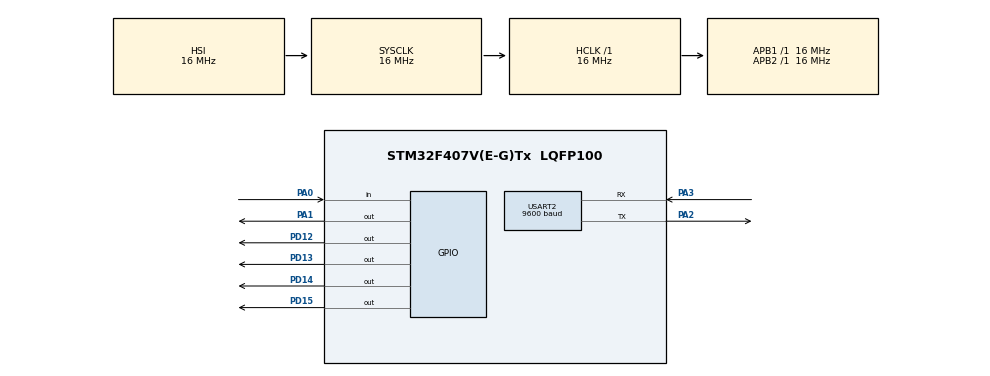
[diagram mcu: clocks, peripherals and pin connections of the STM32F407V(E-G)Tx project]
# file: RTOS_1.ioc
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Mcu.Family=STM32F4
RCC.PLLSourceVirtual=RCC_PLLSOURCE_HSE
PH0-OSC_IN.Signal=RCC_OSC_IN
RCC.CortexFreq_Value=16000000
FREERTOS.Tasks01=NormalTask,0,128,Startnormaltask,Default,NULL,Dynamic,NULL,NULL;HighTask,1,128,Starthightask,Default,NULL,Dynamic,NULL,NULL;LowTask,-1,128,Startlowtask,Default,NULL,Dynamic,NULL,NULL
FREERTOS.BinarySemaphores01=BinSem,Dynamic,NULL
NVIC.USART2_IRQn=true\:5\:0\:false\:false\:true\:true\:true\:true
USART2.BaudRate=9600
ProjectManager.StackSize=0x400
PA0-WKUP.Signal=GPIO_Input
PD13.Signal=GPIO_Output
PA3.Mode=Asynchronous
ProjectManager.TargetToolchain=STM32CubeIDE
RCC.HCLKFreq_Value=16000000
RCC.APB2TimFreq_Value=16000000
RCC.LSE_VALUE=32768
PA1.Signal=GPIO_Output
RCC.AHBFreq_Value=16000000
PH0-OSC_IN.Mode=HSE-External-Oscillator
RCC.HSE_VALUE=8000000
board=custom
RCC.VCOOutputFreq_Value=360000000
RCC.APB2Freq_Value=16000000
VP_SYS_VS_tim1.Mode=TIM1
PH1-OSC_OUT.Signal=RCC_OSC_OUT
VP_FREERTOS_VS_CMSIS_V1.Mode=CMSIS_V1
Mcu.Name=STM32F407V(E-G)Tx
PA2.Signal=USART2_TX
PD14.Signal=GPIO_Output
PH1-OSC_OUT.Mode=HSE-External-Oscillator
RCC.48MHZClocksFreq_Value=90000000
RCC.SYSCLKFreq_VALUE=16000000
Mcu.Package=LQFP100
NVIC.TimeBase=TIM1_UP_TIM10_IRQn
USART2.VirtualMode=VM_ASYNC
PD12.Signal=GPIO_Output
NVIC.TimeBaseIP=TIM1
ProjectManager.HeapSize=0x200
NVIC.TIM1_UP_TIM10_IRQn=true\:0\:0\:false\:false\:true\:false\:false\:true
RCC.HSI_VALUE=16000000
RCC.PLLP=RCC_PLLP_DIV4
NVIC.PriorityGroup=NVIC_PRIORITYGROUP_4
RCC.PLLM=4
RCC.PLLN=180
RCC.APB1TimFreq_Value=16000000
PA2.Mode=Asynchronous
PA0-WKUP.GPIO_PuPd=GPIO_PULLUP
RCC.APB1Freq_Value=16000000
PD15.Signal=GPIO_Output
PA3.Signal=USART2_RX

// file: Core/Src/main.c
/* USER CODE BEGIN Header */
/**
  ******************************************************************************
  * @file           : main.c
  * @brief          : Main program body
  ******************************************************************************
  * @attention
  *
  * <h2><center>&copy; Copyright (c) 2021 STMicroelectronics.
  * All rights reserved.</center></h2>
  *
  * This software component is licensed by ST under BSD 3-Clause license,
  * the "License"; You may not use this file except in compliance with the
  * License. You may obtain a copy of the License at:
  *                        opensource.org/licenses/BSD-3-Clause
  *
  ******************************************************************************
  */
/* USER CODE END Header */
#include "main.h"
#include "cmsis_os.h"
#include "usart.h"
#include "gpio.h"

void SystemClock_Config(void);
void MX_FREERTOS_Init(void);

/* USER CODE BEGIN 0 */
//void send_def(void){
//	uint8_t data[] = "Dados do Paciente \nNome: \nIdade: \nID: \n";
//	HAL_UART_Transmit(&huart2, data, sizeof(data), 500);
//}

/* USER CODE END 0 */

int main(void)
{

  /* MCU Configuration--------------------------------------------------------*/

  /* Reset of all peripherals, Initializes the Flash interface and the Systick. */
  HAL_Init();

  /* Configure the system clock */
  SystemClock_Config();

  /* Initialize all configured peripherals */
  MX_GPIO_Init();
  MX_USART2_UART_Init();

  /* Call init function for freertos objects (in freertos.c) */
  MX_FREERTOS_Init();
  /* Start scheduler */
  osKernelStart();

  /* We should never get here as control is now taken by the scheduler */
  /* Infinite loop */
  while (1)
  {

  }
}

void SystemClock_Config(void)
{
  RCC_OscInitTypeDef RCC_OscInitStruct = {0};
  RCC_ClkInitTypeDef RCC_ClkInitStruct = {0};

  /** Configure the main internal regulator output voltage
  */
  __HAL_RCC_PWR_CLK_ENABLE();
  __HAL_PWR_VOLTAGESCALING_CONFIG(PWR_REGULATOR_VOLTAGE_SCALE1);
  /** Initializes the RCC Oscillators according to the specified parameters
  * in the RCC_OscInitTypeDef structure.
  */
  RCC_OscInitStruct.OscillatorType = RCC_OSCILLATORTYPE_HSI;
  RCC_OscInitStruct.HSIState = RCC_HSI_ON;
  RCC_OscInitStruct.HSICalibrationValue = RCC_HSICALIBRATION_DEFAULT;
  RCC_OscInitStruct.PLL.PLLState = RCC_PLL_NONE;
  if (HAL_RCC_OscConfig(&RCC_OscInitStruct) != HAL_OK)
  {
    Error_Handler();
  }
  /** Initializes the CPU, AHB and APB buses clocks
  */
  RCC_ClkInitStruct.ClockType = RCC_CLOCKTYPE_HCLK|RCC_CLOCKTYPE_SYSCLK
                              |RCC_CLOCKTYPE_PCLK1|RCC_CLOCKTYPE_PCLK2;
  RCC_ClkInitStruct.SYSCLKSource = RCC_SYSCLKSOURCE_HSI;
  RCC_ClkInitStruct.AHBCLKDivider = RCC_SYSCLK_DIV1;
  RCC_ClkInitStruct.APB1CLKDivider = RCC_HCLK_DIV1;
  RCC_ClkInitStruct.APB2CLKDivider = RCC_HCLK_DIV1;

  if (HAL_RCC_ClockConfig(&RCC_ClkInitStruct, FLASH_LATENCY_0) != HAL_OK)
  {
    Error_Handler();
  }
}

 /**
  * @brief  Period elapsed callback in non blocking mode
  * @note   This function is called  when TIM1 interrupt took place, inside
  * HAL_TIM_IRQHandler(). It makes a direct call to HAL_IncTick() to increment
  * a global variable "uwTick" used as application time base.
  * @param  htim : TIM handle
  * @retval None
  */
void HAL_TIM_PeriodElapsedCallback(TIM_HandleTypeDef *htim)
{
  if (htim->Instance == TIM1) {
    HAL_IncTick();
  }
}

void Error_Handler(void)
{
  __disable_irq();
  while (1)
  {
  }
}

/************************ (C) COPYRIGHT STMicroelectronics *****END OF FILE****/

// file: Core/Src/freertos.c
/* USER CODE BEGIN Header */
/**
  ******************************************************************************
  * File Name          : freertos.c
  * Description        : Simple Binary Semaphore example /
  * This code has three tasks, the two with the highest priority have an interaction
  * with the semaphore and the lower one don't. So, it should enter the HighPriority task
  * and wait for the button to be pressed to release the semaphore and start the
  * NormalPriority task. While the button isn't pressed, the LowerPriority task
  * will run normally.
  ******************************************************************************
  * @attention
  *
  * <h2><center>&copy; Copyright (c) 2021 STMicroelectronics.
  * All rights reserved.</center></h2>
  *
  * This software component is licensed by ST under Ultimate Liberty license
  * SLA0044, the "License"; You may not use this file except in compliance with
  * the License. You may obtain a copy of the License at:
  *                             www.st.com/SLA0044
  *
  ******************************************************************************
  */
/* USER CODE END Header */

#include "FreeRTOS.h"
#include "task.h"
#include "main.h"
#include "cmsis_os.h"

/* USER CODE BEGIN Includes */
#include "usart.h"
/* USER CODE END Includes */

osThreadId NormalTaskHandle;
osThreadId HighTaskHandle;
osThreadId LowTaskHandle;
osSemaphoreId BinSemHandle;

void Startnormaltask(void const * argument);
void Starthightask(void const * argument);
void Startlowtask(void const * argument);

void MX_FREERTOS_Init(void); /* (MISRA C 2004 rule 8.1) */

/* GetIdleTaskMemory prototype (linked to static allocation support) */
void vApplicationGetIdleTaskMemory( StaticTask_t **ppxIdleTaskTCBBuffer, StackType_t **ppxIdleTaskStackBuffer, uint32_t *pulIdleTaskStackSize );

/* USER CODE BEGIN GET_IDLE_TASK_MEMORY */
static StaticTask_t xIdleTaskTCBBuffer;
static StackType_t xIdleStack[configMINIMAL_STACK_SIZE];

void vApplicationGetIdleTaskMemory( StaticTask_t **ppxIdleTaskTCBBuffer, StackType_t **ppxIdleTaskStackBuffer, uint32_t *pulIdleTaskStackSize )
{
  *ppxIdleTaskTCBBuffer = &xIdleTaskTCBBuffer;
  *ppxIdleTaskStackBuffer = &xIdleStack[0];
  *pulIdleTaskStackSize = configMINIMAL_STACK_SIZE;
  /* place for user code */
}
/* USER CODE END GET_IDLE_TASK_MEMORY */

void MX_FREERTOS_Init(void) {

  /* Create the semaphores(s) */
  /* definition and creation of BinSem */
  osSemaphoreDef(BinSem);
  BinSemHandle = osSemaphoreCreate(osSemaphore(BinSem), 1);

  /* Create the thread(s) */
  /* definition and creation of NormalTask */
  osThreadDef(NormalTask, Startnormaltask, osPriorityNormal, 0, 128);
  NormalTaskHandle = osThreadCreate(osThread(NormalTask), NULL);

  /* definition and creation of HighTask */
  osThreadDef(HighTask, Starthightask, osPriorityAboveNormal, 0, 128);
  HighTaskHandle = osThreadCreate(osThread(HighTask), NULL);

  /* definition and creation of LowTask */
  osThreadDef(LowTask, Startlowtask, osPriorityBelowNormal, 0, 128);
  LowTaskHandle = osThreadCreate(osThread(LowTask), NULL);

}

void Startnormaltask(void const * argument)
{
  /* USER CODE BEGIN Startnormaltask */
  /* Infinite loop */
  for(;;)
  {

	  osSemaphoreWait(BinSemHandle, osWaitForever);
	  char *str1 = "Entered NormalTask\n";
	  HAL_UART_Transmit(&huart2, (uint8_t*) str1, strlen(str1), 100);

	  char *str3 = "Waiting button to be pressed\n";
	  HAL_UART_Transmit(&huart2, (uint8_t*) str3, strlen(str3), 100);

	  while (HAL_GPIO_ReadPin(GPIOA, GPIO_PIN_0));

	  char *str2 = "Leaving NormalTask\n\n";
	  HAL_UART_Transmit(&huart2, (uint8_t*) str2, strlen(str2), 100);

	  osSemaphoreRelease(BinSemHandle);
	  osDelay(1000);
  }
  /* USER CODE END Startnormaltask */
}

void Starthightask(void const * argument)
{
  /* USER CODE BEGIN Starthightask */
  /* Infinite loop */
  for(;;)
  {
	  osSemaphoreWait(BinSemHandle, osWaitForever);
	  char *str1 = "Entered HighTask\n";
	  HAL_UART_Transmit(&huart2, (uint8_t*) str1, strlen(str1), 100);

	  char *str3 = "Waiting button to be pressed\n";
	  HAL_UART_Transmit(&huart2, (uint8_t*) str3, strlen(str3), 100);

	  while (HAL_GPIO_ReadPin(GPIOA, GPIO_PIN_0));

	  char *str2 = "Leaving HighTask\n\n";
	  HAL_UART_Transmit(&huart2, (uint8_t*) str2, strlen(str2), 100);

	  osSemaphoreRelease(BinSemHandle);
	  osDelay(1000);
  }
  /* USER CODE END Starthightask */
}

void Startlowtask(void const * argument)
{
  /* USER CODE BEGIN Startlowtask */
  /* Infinite loop */
  for(;;)
  {
	  osSemaphoreWait(BinSemHandle, osWaitForever);
	  char *str1 = "Entered LowTask\n";
	  HAL_UART_Transmit(&huart2, (uint8_t*) str1, strlen(str1), 100);

	  char *str2 = "Leaving LowTask\n\n";
	  HAL_UART_Transmit(&huart2, (uint8_t*) str2, strlen(str2), 100);
	  osDelay(1000);
  }
  /* USER CODE END Startlowtask */
}

/************************ (C) COPYRIGHT STMicroelectronics *****END OF FILE****/
